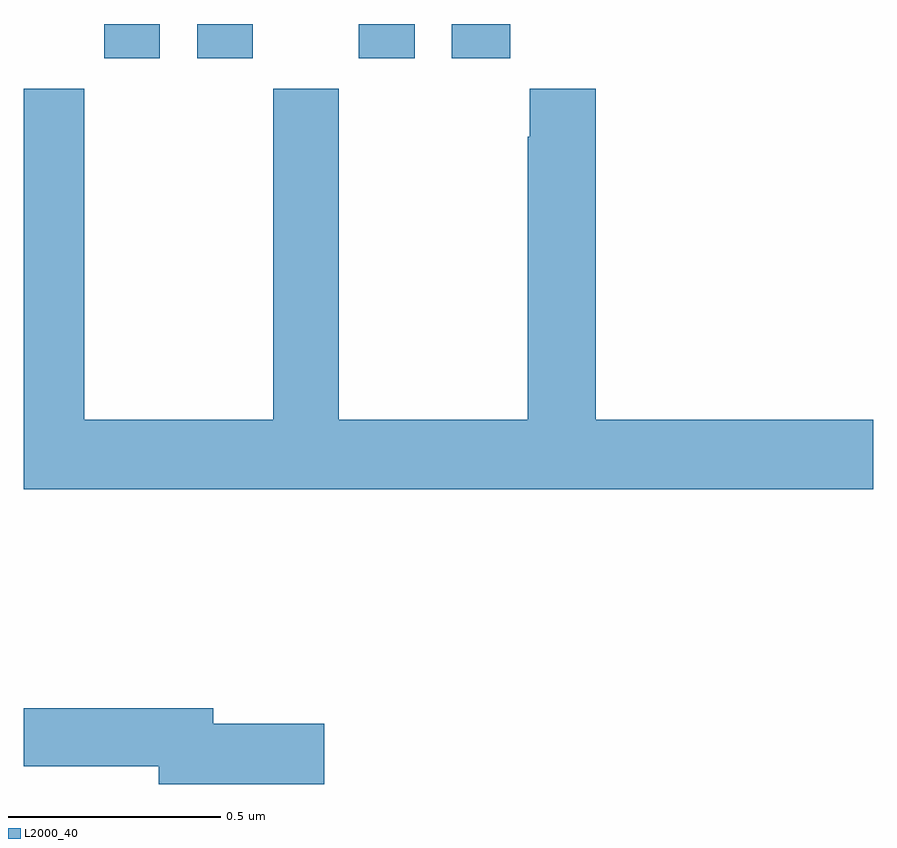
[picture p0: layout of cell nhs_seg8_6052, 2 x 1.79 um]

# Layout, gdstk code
import gdstk
lib = gdstk.Library(unit=1e-6, precision=1e-09)
def R(c, l, rs):  # rectangles x0, y0, x1, y1
    for r in rs: c.add(gdstk.rectangle(r[:2], r[2:], *l))
def P(c, l, *ps):  # polygons
    for p in ps: c.add(gdstk.Polygon(p, *l))
L2000_40 = (2000, 40)

nhs_seg8_6052 = lib.new_cell('nhs_seg8_6052')
R(nhs_seg8_6052, L2000_40, [(191.189,1146.819,191.32,1146.9), (191.408,1146.819,191.539,1146.9), (191.789,1146.819,191.92,1146.9), (192.008,1146.819,192.145,1146.9)])
P(nhs_seg8_6052, L2000_40, [(193,1145.968),(192.347,1145.968),(192.347,1146.748),(192.191,1146.748),(192.191,1146.635),(192.187,1146.635),(192.187,1145.968),(191.742,1145.968),(191.742,1146.748),(191.587,1146.748),(191.587,1145.968),(191.142,1145.968),(191.142,1146.748),(191,1146.748),(191,1145.804),(193,1145.804)],
  [(191.707,1145.252),(191.446,1145.252),(191.446,1145.288),(191,1145.288),(191,1145.152),(191.318,1145.152),(191.318,1145.11),(191.707,1145.11)])

lib.write_gds('nhs_seg8_6052.gds')
